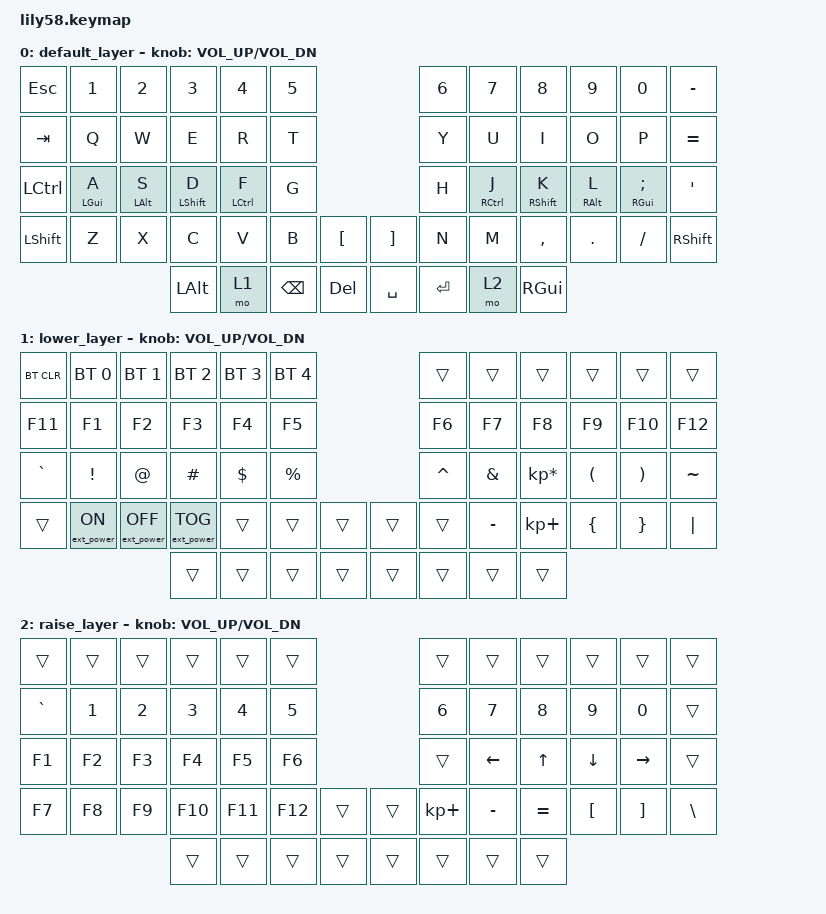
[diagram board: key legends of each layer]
/*
 * Copyright (c) 2020 The ZMK Contributors
 *
 * SPDX-License-Identifier: MIT
 */

#include <behaviors.dtsi>
#include <dt-bindings/zmk/keys.h>
#include <dt-bindings/zmk/bt.h>
#include <dt-bindings/zmk/ext_power.h>

/ {
    behaviors {
        hm: homerow_mods {
            compatible = "zmk,behavior-hold-tap";
            label = "HOMEROW_MODS";
            #binding-cells = <2>;
            tapping-term-ms = <150>;
            quick-tap-ms = <0>;
            flavor = "tap-preferred";
            bindings = <&kp>, <&kp>;
        };
    };

    keymap {
        compatible = "zmk,keymap";

        default_layer {
// ------------------------------------------------------------------------------------------------------------
// |  ESC  |  1  |  2  |  3   |   4   |  5  |                 |   6   |   7   |  8   |  9   |   0   |   -   |
// |  TAB  |  Q  |  W  |  E   |   R   |  T  |                 |   Y   |   U   |  I   |  O   |   P   |   =   |
// |  CTRL |  A  |  S  |  D   |   F   |  G  |                 |   H   |   J   |  K   |  L   |   ;   |   '   |
// | SHIFT |  Z  |  X  |  C   |   V   |  B  |                 |   N   |   M   |  ,   |  .   |   /   | SHIFT |
//                     | ALT  | LOWER | DEL | BSKP |  | SPACE | ENTER | RAISE | GUI  |
            bindings = <
&kp ESC   &kp N1       &kp N2       &kp N3         &kp N4         &kp N5                           &kp N6   &kp N7        &kp N8         &kp N9       &kp N0          &kp MINUS
&kp TAB   &kp Q        &kp W        &kp E          &kp R          &kp T                            &kp Y    &kp U         &kp I          &kp O        &kp P           &kp EQUAL
&kp LCTRL &hm LGUI A   &hm LALT S   &hm LSHIFT D   &hm LCTRL F    &kp G                            &kp H    &hm RCTRL J   &hm RSHIFT K   &hm RALT L   &hm RGUI SEMI   &kp SQT
&kp LSHFT &kp Z        &kp X        &kp C          &kp V          &kp B     &kp LBKT    &kp RBKT   &kp N    &kp M         &kp COMMA      &kp DOT      &kp FSLH        &kp RSHFT
                                    &kp LALT       &mo 1          &kp BSPC  &kp DEL     &kp SPACE  &kp RET  &mo 2         &kp RGUI
            >;

            sensor-bindings = <&inc_dec_kp C_VOL_UP C_VOL_DN>;
        };

        lower_layer {
// ------------------------------------------------------------------------------------------------------------
// | BTCLR | BT1 | BT2 |  BT3 |  BT4 |  BT5 |                   |      |       |       |      |       |       |
// |  F11  |  F1 |  F2 |  F3  |  F4  |  F5  |                   |  F6  |  F7   |  F8   |  F9  |  F10  |  F12  |
// |   `   |  !  |  @  |  #   |  $   |  %   |                   |  ^   |  &    |  *    |  (   |   )   |   ~   |
// |       |     |     |      |      |      |                   |      |  _    |  +    |  {   |   }   |  "|"  |
//                     |      |      |      |        |  |       |      |       |       |
            bindings = <
&bt BT_CLR &bt BT_SEL 0     &bt BT_SEL 1      &bt BT_SEL 2      &bt BT_SEL 3 &bt BT_SEL 4                 &trans    &trans    &trans          &trans    &trans    &trans
&kp F11    &kp F1           &kp F2            &kp F3            &kp F4       &kp F5                       &kp F6    &kp F7    &kp F8          &kp F9    &kp F10   &kp F12
&kp GRAVE  &kp EXCL         &kp AT            &kp HASH          &kp DOLLAR   &kp PRCNT                    &kp CARET &kp AMPS  &kp KP_MULTIPLY &kp LPAR  &kp RPAR  &kp TILDE
&trans     &ext_power EP_ON &ext_power EP_OFF &ext_power EP_TOG &trans       &trans    &trans   &trans    &trans    &kp MINUS &kp KP_PLUS     &kp LBRC  &kp RBRC  &kp PIPE
                                              &trans            &trans       &trans    &trans   &trans    &trans    &trans    &trans
            >;

            sensor-bindings = <&inc_dec_kp C_VOL_UP C_VOL_DN>;
        };

        raise_layer {
// ------------------------------------------------------------------------------------------------------------
// |       |     |     |      |      |      |                   |      |       |       |      |       |       |
// |   `   |  1  |  2  |  3   |  4   |  5   |                   |  6   |   7   |   8   |  9   |   0   |       |
// |   F1  |  F2 |  F3 |  F4  |  F5  |  F6  |                   |      |   <-  |   v   |  ^   |  ->   |       |
// |   F7  |  F8 |  F9 |  F10 |  F11 |  F12 |                   |  +   |   -   |   =   |  [   |   ]   |   \   |
//                     |      |      |      |        |  |       |      |       |       |
            bindings = <
&trans    &trans &trans &trans  &trans  &trans                       &trans      &trans    &trans    &trans   &trans    &trans
&kp GRAVE &kp N1 &kp N2 &kp N3  &kp N4  &kp N5                       &kp N6      &kp N7    &kp N8    &kp N9   &kp N0    &trans
&kp F1    &kp F2 &kp F3 &kp F4  &kp F5  &kp F6                       &trans      &kp LEFT  &kp UP    &kp DOWN &kp RIGHT &trans
&kp F7    &kp F8 &kp F9 &kp F10 &kp F11 &kp F12   &trans   &trans    &kp KP_PLUS &kp MINUS &kp EQUAL &kp LBKT &kp RBKT  &kp BSLH
                        &trans  &trans  &trans    &trans   &trans    &trans      &trans    &trans
            >;

            sensor-bindings = <&inc_dec_kp C_VOL_UP C_VOL_DN>;
        };
    };
};
